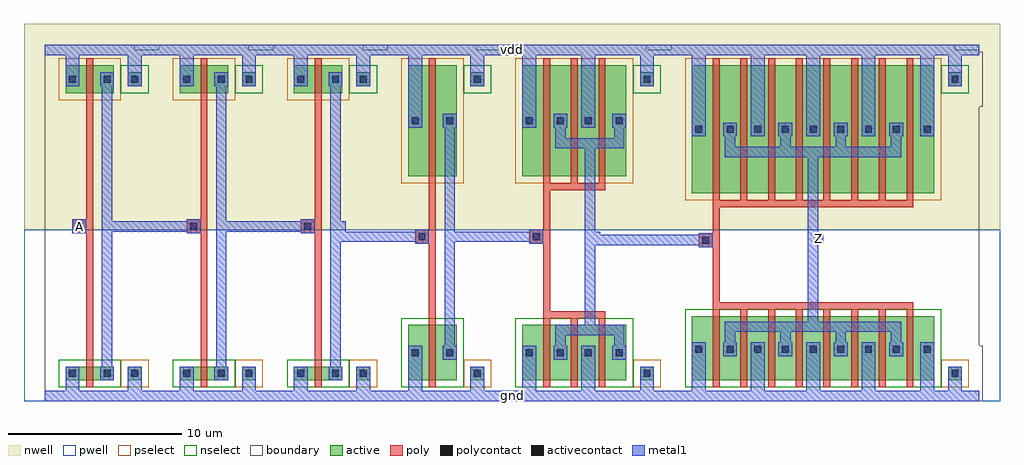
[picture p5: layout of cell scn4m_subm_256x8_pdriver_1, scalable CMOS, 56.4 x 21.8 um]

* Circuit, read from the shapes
.subckt scn4m_subm_256x8_pdriver_1 A Z gnd vdd
M1 scn4m_subm_256x8_pinv_1_1/A A gnd gnd nfet w=0.8u l=0.4u
M2 scn4m_subm_256x8_pinv_1_2/A scn4m_subm_256x8_pinv_1_1/A gnd gnd nfet w=0.8u l=0.4u
M3 scn4m_subm_256x8_pinv_8_3/A scn4m_subm_256x8_pinv_1_2/A gnd gnd nfet w=0.8u l=0.4u
M4 scn4m_subm_256x8_pinv_5_4/A scn4m_subm_256x8_pinv_8_3/A gnd gnd nfet w=3.2u l=0.4u
M5 scn4m_subm_256x8_pinv_9_5/A scn4m_subm_256x8_pinv_5_4/A gnd gnd nfet w=3.2u l=0.4u m=3
M6 Z scn4m_subm_256x8_pinv_9_5/A gnd gnd nfet w=3.7u l=0.4u m=8
M7 scn4m_subm_256x8_pinv_1_1/A A vdd vdd pfet w=1.6u l=0.4u
M8 scn4m_subm_256x8_pinv_1_2/A scn4m_subm_256x8_pinv_1_1/A vdd vdd pfet w=1.6u l=0.4u
M9 scn4m_subm_256x8_pinv_8_3/A scn4m_subm_256x8_pinv_1_2/A vdd vdd pfet w=1.6u l=0.4u
M10 scn4m_subm_256x8_pinv_5_4/A scn4m_subm_256x8_pinv_8_3/A vdd vdd pfet w=6.4u l=0.4u
M11 scn4m_subm_256x8_pinv_9_5/A scn4m_subm_256x8_pinv_5_4/A vdd vdd pfet w=6.4u l=0.4u m=3
M12 Z scn4m_subm_256x8_pinv_9_5/A vdd vdd pfet w=7.4u l=0.4u m=8
.ends

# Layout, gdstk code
import gdstk
lib = gdstk.Library(unit=1e-6, precision=1e-09)
def R(c, l, rs):  # rectangles x0, y0, x1, y1
    for r in rs: c.add(gdstk.rectangle(r[:2], r[2:], *l))
def A(c, l, x, y, w, h, nx, ny, dx, dy):  # array of equal rectangles
    R(c, l, [(x+i*dx, y+j*dy, x+i*dx+w, y+j*dy+h) for i in range(nx) for j in range(ny)])
pwell = (41, 0)
nwell = (42, 0)
active = (43, 0)
pselect = (44, 0)
nselect = (45, 0)
poly = (46, 0)
polycontact = (47, 0)
activecontact = (48, 0)
metal1 = (49, 0)
boundary = (63, 0)

scn4m_subm_256x8_contact = lib.new_cell('scn4m_subm_256x8_contact_12')
R(scn4m_subm_256x8_contact, nwell, [(-1.2,-1.2,2,2)])
R(scn4m_subm_256x8_contact, active, [(0,0,0.8,0.8)])
R(scn4m_subm_256x8_contact, pselect, [(-0.4,-0.4,1.2,1.2)])
R(scn4m_subm_256x8_contact, activecontact, [(0.2,0.2,0.6,0.6)])
R(scn4m_subm_256x8_contact, metal1, [(0,0,0.8,0.8)])
R(scn4m_subm_256x8_contact, boundary, [(-1.2,-1.2,2,2)])

scn4m_subm_256x8_pmos_m1 = lib.new_cell('scn4m_subm_256x8_pmos_m1_w1_600_sm1_dm1_da_p')
R(scn4m_subm_256x8_pmos_m1, nwell, [(-1.2,-1.2,4,2.8)])
R(scn4m_subm_256x8_pmos_m1, active, [(0,0,2.8,1.6)])
R(scn4m_subm_256x8_pmos_m1, pselect, [(-0.4,-0.4,3.2,2)])
R(scn4m_subm_256x8_pmos_m1, poly, [(1.2,-0.4,1.6,2), (1.2,-0.4,1.6,2)])
R(scn4m_subm_256x8_pmos_m1, metal1, [(0,0.4,0.8,1.2), (2,0.4,2.8,1.2)])
R(scn4m_subm_256x8_pmos_m1, boundary, [(-1.2,-1.2,4,2.8)])
scn4m_subm_256x8_pmos_m1.add(gdstk.Reference(scn4m_subm_256x8_contact, (0,0.4)))
scn4m_subm_256x8_pmos_m1.add(gdstk.Reference(scn4m_subm_256x8_contact, (2,0.4)))
scn4m_subm_256x8_pmos_m1.add(gdstk.Label('G', (1.4,0.8), layer=46, texttype=0))
scn4m_subm_256x8_pmos_m1.add(gdstk.Label('S', (0.4,0.8), layer=49, texttype=0))
scn4m_subm_256x8_pmos_m1.add(gdstk.Label('D', (2.4,0.8), layer=49, texttype=0))

c_scn4m_subm_256x8_contact = lib.new_cell('scn4m_subm_256x8_contact_11')
R(c_scn4m_subm_256x8_contact, pwell, [(-1.2,-1.2,2,2)])
R(c_scn4m_subm_256x8_contact, active, [(0,0,0.8,0.8)])
R(c_scn4m_subm_256x8_contact, nselect, [(-0.4,-0.4,1.2,1.2)])
R(c_scn4m_subm_256x8_contact, activecontact, [(0.2,0.2,0.6,0.6)])
R(c_scn4m_subm_256x8_contact, metal1, [(0,0,0.8,0.8)])
R(c_scn4m_subm_256x8_contact, boundary, [(-1.2,-1.2,2,2)])

scn4m_subm_256x8_nmos_m1 = lib.new_cell('scn4m_subm_256x8_nmos_m1_w0_800_sm1_dm1_da_p')
R(scn4m_subm_256x8_nmos_m1, pwell, [(-1.2,-1.2,4,2)])
R(scn4m_subm_256x8_nmos_m1, active, [(0,0,2.8,0.8)])
R(scn4m_subm_256x8_nmos_m1, nselect, [(-0.4,-0.4,3.2,1.2)])
R(scn4m_subm_256x8_nmos_m1, poly, [(1.2,-0.4,1.6,1.2), (1.2,-0.4,1.6,1.2)])
R(scn4m_subm_256x8_nmos_m1, metal1, [(0,0,0.8,0.8), (2,0,2.8,0.8)])
R(scn4m_subm_256x8_nmos_m1, boundary, [(-1.2,-1.2,4,2)])
scn4m_subm_256x8_nmos_m1.add(gdstk.Reference(c_scn4m_subm_256x8_contact, (0,0)))
scn4m_subm_256x8_nmos_m1.add(gdstk.Reference(c_scn4m_subm_256x8_contact, (2,0)))
scn4m_subm_256x8_nmos_m1.add(gdstk.Label('G', (1.4,0.4), layer=46, texttype=0))
scn4m_subm_256x8_nmos_m1.add(gdstk.Label('S', (0.4,0.4), layer=49, texttype=0))
scn4m_subm_256x8_nmos_m1.add(gdstk.Label('D', (2.4,0.4), layer=49, texttype=0))

c_scn4m_subm_256x8_contact_ = lib.new_cell('scn4m_subm_256x8_contact_13')
R(c_scn4m_subm_256x8_contact_, nwell, [(-1.2,-1.2,2,2)])
R(c_scn4m_subm_256x8_contact_, active, [(0,0,0.8,0.8)])
R(c_scn4m_subm_256x8_contact_, nselect, [(-0.4,-0.4,1.2,1.2)])
R(c_scn4m_subm_256x8_contact_, activecontact, [(0.2,0.2,0.6,0.6)])
R(c_scn4m_subm_256x8_contact_, metal1, [(0,0,0.8,0.8)])
R(c_scn4m_subm_256x8_contact_, boundary, [(-1.2,-1.2,2,2)])

c_scn4m_subm_256x8_contact__ = lib.new_cell('scn4m_subm_256x8_contact_14')
R(c_scn4m_subm_256x8_contact__, pwell, [(-1.2,-1.2,2,2)])
R(c_scn4m_subm_256x8_contact__, active, [(0,0,0.8,0.8)])
R(c_scn4m_subm_256x8_contact__, pselect, [(-0.4,-0.4,1.2,1.2)])
R(c_scn4m_subm_256x8_contact__, activecontact, [(0.2,0.2,0.6,0.6)])
R(c_scn4m_subm_256x8_contact__, metal1, [(0,0,0.8,0.8)])
R(c_scn4m_subm_256x8_contact__, boundary, [(-1.2,-1.2,2,2)])

c_scn4m_subm_256x8_contact___ = lib.new_cell('scn4m_subm_256x8_contact_15')
R(c_scn4m_subm_256x8_contact___, poly, [(0,0,0.8,0.8)])
R(c_scn4m_subm_256x8_contact___, polycontact, [(0.2,0.2,0.6,0.6)])
R(c_scn4m_subm_256x8_contact___, metal1, [(0,0,0.8,0.8)])
R(c_scn4m_subm_256x8_contact___, boundary, [(0,0,0.8,0.8)])

scn4m_subm_256x8_pinv_1 = lib.new_cell('scn4m_subm_256x8_pinv_1')
R(scn4m_subm_256x8_pinv_1, pwell, [(-1.2,-0.3,7.8,9.6)])
R(scn4m_subm_256x8_pinv_1, nwell, [(-1.2,9.6,7.8,21.5)])
R(scn4m_subm_256x8_pinv_1, poly, [(2.4,2.1,2.8,17.1), (2,9.4,2.4,10.2)])
R(scn4m_subm_256x8_pinv_1, metal1, [(0,-0.3,6.6,0.3), (1.2,-0.3,2,0.9), (4.8,0,5.6,1.3), (3.3,0.9,3.9,18.7), (1.6,9.4,2.4,10.2), (3.6,9.5,4.2,10.1), (1.2,17.9,2,20.3), (4.8,18.3,5.6,20), (0,19.7,6.6,20.3)])
R(scn4m_subm_256x8_pinv_1, boundary, [(0,0,6.6,20), (0,0,6.6,20)])
scn4m_subm_256x8_pinv_1.add(gdstk.Reference(scn4m_subm_256x8_pmos_m1, (1.2,17.5)))
scn4m_subm_256x8_pinv_1.add(gdstk.Reference(scn4m_subm_256x8_nmos_m1, (1.2,0.9)))
scn4m_subm_256x8_pinv_1.add(gdstk.Reference(c_scn4m_subm_256x8_contact_, (4.8,17.9)))
scn4m_subm_256x8_pinv_1.add(gdstk.Reference(c_scn4m_subm_256x8_contact__, (4.8,0.9)))
scn4m_subm_256x8_pinv_1.add(gdstk.Reference(c_scn4m_subm_256x8_contact___, (1.6,9.4)))
scn4m_subm_256x8_pinv_1.add(gdstk.Label('A', (2,9.8), layer=49, texttype=0))
scn4m_subm_256x8_pinv_1.add(gdstk.Label('Z', (3.9,9.8), layer=49, texttype=0))
scn4m_subm_256x8_pinv_1.add(gdstk.Label('gnd', (3.3,0), layer=49, texttype=0))
scn4m_subm_256x8_pinv_1.add(gdstk.Label('vdd', (3.3,20), layer=49, texttype=0))

c_scn4m_subm_256x8_pmos_m1 = lib.new_cell('scn4m_subm_256x8_pmos_m1_w6_400_sm1_dm1_da_p')
R(c_scn4m_subm_256x8_pmos_m1, nwell, [(-1.2,-1.2,4,7.6)])
R(c_scn4m_subm_256x8_pmos_m1, active, [(0,0,2.8,6.4)])
R(c_scn4m_subm_256x8_pmos_m1, pselect, [(-0.4,-0.4,3.2,6.8)])
R(c_scn4m_subm_256x8_pmos_m1, poly, [(1.2,-0.4,1.6,6.8), (1.2,-0.4,1.6,6.8)])
R(c_scn4m_subm_256x8_pmos_m1, metal1, [(0,2.8,0.8,3.6), (2,2.8,2.8,3.6)])
R(c_scn4m_subm_256x8_pmos_m1, boundary, [(-1.2,-1.2,4,7.6)])
c_scn4m_subm_256x8_pmos_m1.add(gdstk.Reference(scn4m_subm_256x8_contact, (0,2.8)))
c_scn4m_subm_256x8_pmos_m1.add(gdstk.Reference(scn4m_subm_256x8_contact, (2,2.8)))
c_scn4m_subm_256x8_pmos_m1.add(gdstk.Label('G', (1.4,3.2), layer=46, texttype=0))
c_scn4m_subm_256x8_pmos_m1.add(gdstk.Label('S', (0.4,3.2), layer=49, texttype=0))
c_scn4m_subm_256x8_pmos_m1.add(gdstk.Label('D', (2.4,3.2), layer=49, texttype=0))

c_scn4m_subm_256x8_nmos_m1 = lib.new_cell('scn4m_subm_256x8_nmos_m1_w3_200_sm1_dm1_da_p')
R(c_scn4m_subm_256x8_nmos_m1, pwell, [(-1.2,-1.2,4,4.4)])
R(c_scn4m_subm_256x8_nmos_m1, active, [(0,0,2.8,3.2)])
R(c_scn4m_subm_256x8_nmos_m1, nselect, [(-0.4,-0.4,3.2,3.6)])
R(c_scn4m_subm_256x8_nmos_m1, poly, [(1.2,-0.4,1.6,3.6), (1.2,-0.4,1.6,3.6)])
R(c_scn4m_subm_256x8_nmos_m1, metal1, [(0,1.2,0.8,2), (2,1.2,2.8,2)])
R(c_scn4m_subm_256x8_nmos_m1, boundary, [(-1.2,-1.2,4,4.4)])
c_scn4m_subm_256x8_nmos_m1.add(gdstk.Reference(c_scn4m_subm_256x8_contact, (0,1.2)))
c_scn4m_subm_256x8_nmos_m1.add(gdstk.Reference(c_scn4m_subm_256x8_contact, (2,1.2)))
c_scn4m_subm_256x8_nmos_m1.add(gdstk.Label('G', (1.4,1.6), layer=46, texttype=0))
c_scn4m_subm_256x8_nmos_m1.add(gdstk.Label('S', (0.4,1.6), layer=49, texttype=0))
c_scn4m_subm_256x8_nmos_m1.add(gdstk.Label('D', (2.4,1.6), layer=49, texttype=0))

scn4m_subm_256x8_pinv_8 = lib.new_cell('scn4m_subm_256x8_pinv_8')
R(scn4m_subm_256x8_pinv_8, pwell, [(-1.2,-0.3,7.8,9.6)])
R(scn4m_subm_256x8_pinv_8, nwell, [(-1.2,9.6,7.8,21.5)])
R(scn4m_subm_256x8_pinv_8, poly, [(2.4,4.5,2.8,12.3), (2,8.8,2.4,9.6)])
R(scn4m_subm_256x8_pinv_8, metal1, [(0,-0.3,6.6,0.3), (1.2,-0.3,2,2.1), (4.8,0,5.6,1.3), (3.3,2.1,3.9,16.3), (1.6,8.8,2.4,9.6), (3.6,8.9,4.2,9.5), (1.2,15.5,2,20.3), (4.8,18.3,5.6,20), (0,19.7,6.6,20.3)])
R(scn4m_subm_256x8_pinv_8, boundary, [(0,0,6.6,20), (0,0,6.6,20)])
scn4m_subm_256x8_pinv_8.add(gdstk.Reference(c_scn4m_subm_256x8_pmos_m1, (1.2,12.7)))
scn4m_subm_256x8_pinv_8.add(gdstk.Reference(c_scn4m_subm_256x8_nmos_m1, (1.2,0.9)))
scn4m_subm_256x8_pinv_8.add(gdstk.Reference(c_scn4m_subm_256x8_contact_, (4.8,17.9)))
scn4m_subm_256x8_pinv_8.add(gdstk.Reference(c_scn4m_subm_256x8_contact__, (4.8,0.9)))
scn4m_subm_256x8_pinv_8.add(gdstk.Reference(c_scn4m_subm_256x8_contact___, (1.6,8.8)))
scn4m_subm_256x8_pinv_8.add(gdstk.Label('A', (2,9.2), layer=49, texttype=0))
scn4m_subm_256x8_pinv_8.add(gdstk.Label('Z', (3.9,9.2), layer=49, texttype=0))
scn4m_subm_256x8_pinv_8.add(gdstk.Label('gnd', (3.3,0), layer=49, texttype=0))
scn4m_subm_256x8_pinv_8.add(gdstk.Label('vdd', (3.3,20), layer=49, texttype=0))

scn4m_subm_256x8_pmos_m3 = lib.new_cell('scn4m_subm_256x8_pmos_m3_w6_400_sm1_dm1_da_p')
R(scn4m_subm_256x8_pmos_m3, nwell, [(-1.2,-1.2,7.2,7.6)])
R(scn4m_subm_256x8_pmos_m3, active, [(0,0,6,6.4)])
R(scn4m_subm_256x8_pmos_m3, pselect, [(-0.4,-0.4,6.4,6.8)])
A(scn4m_subm_256x8_pmos_m3, poly, 1.2, -0.4, 0.4, 7.2, 3, 1, 1.6, 0)
R(scn4m_subm_256x8_pmos_m3, poly, [(1.2,-0.8,4.8,-0.4)])
R(scn4m_subm_256x8_pmos_m3, metal1, [(1.9,1.6,5.9,2.2), (1.9,1.9,2.5,3.2), (5.3,1.9,5.9,3.2), (0,2.8,0.8,3.6), (3.4,2.8,4.2,3.6)])
R(scn4m_subm_256x8_pmos_m3, boundary, [(-1.2,-1.2,7.2,7.6)])
scn4m_subm_256x8_pmos_m3.add(gdstk.Reference(scn4m_subm_256x8_contact, (0,2.8)))
scn4m_subm_256x8_pmos_m3.add(gdstk.Reference(scn4m_subm_256x8_contact, (1.8,2.8)))
scn4m_subm_256x8_pmos_m3.add(gdstk.Reference(scn4m_subm_256x8_contact, (3.4,2.8)))
scn4m_subm_256x8_pmos_m3.add(gdstk.Reference(scn4m_subm_256x8_contact, (5.2,2.8)))
scn4m_subm_256x8_pmos_m3.add(gdstk.Label('G', (3,-0.6), layer=46, texttype=0))
scn4m_subm_256x8_pmos_m3.add(gdstk.Label('S', (3.8,3.2), layer=49, texttype=0))
scn4m_subm_256x8_pmos_m3.add(gdstk.Label('S', (0.4,3.2), layer=49, texttype=0))
scn4m_subm_256x8_pmos_m3.add(gdstk.Label('D', (3.9,1.9), layer=49, texttype=0))

scn4m_subm_256x8_nmos_m3 = lib.new_cell('scn4m_subm_256x8_nmos_m3_w3_200_sm1_dm1_da_p')
R(scn4m_subm_256x8_nmos_m3, pwell, [(-1.2,-1.2,7.2,4.4)])
R(scn4m_subm_256x8_nmos_m3, active, [(0,0,6,3.2)])
R(scn4m_subm_256x8_nmos_m3, nselect, [(-0.4,-0.4,6.4,3.6)])
A(scn4m_subm_256x8_nmos_m3, poly, 1.2, -0.4, 0.4, 4, 3, 1, 1.6, 0)
R(scn4m_subm_256x8_nmos_m3, poly, [(1.2,3.6,4.8,4)])
R(scn4m_subm_256x8_nmos_m3, metal1, [(0,1.2,0.8,2), (3.4,1.2,4.2,2), (1.9,1.6,2.5,2.9), (5.3,1.6,5.9,2.9), (1.9,2.6,5.9,3.2)])
R(scn4m_subm_256x8_nmos_m3, boundary, [(-1.2,-1.2,7.2,4.4)])
scn4m_subm_256x8_nmos_m3.add(gdstk.Reference(c_scn4m_subm_256x8_contact, (0,1.2)))
scn4m_subm_256x8_nmos_m3.add(gdstk.Reference(c_scn4m_subm_256x8_contact, (1.8,1.2)))
scn4m_subm_256x8_nmos_m3.add(gdstk.Reference(c_scn4m_subm_256x8_contact, (3.4,1.2)))
scn4m_subm_256x8_nmos_m3.add(gdstk.Reference(c_scn4m_subm_256x8_contact, (5.2,1.2)))
scn4m_subm_256x8_nmos_m3.add(gdstk.Label('G', (3,3.8), layer=46, texttype=0))
scn4m_subm_256x8_nmos_m3.add(gdstk.Label('S', (3.8,1.6), layer=49, texttype=0))
scn4m_subm_256x8_nmos_m3.add(gdstk.Label('S', (0.4,1.6), layer=49, texttype=0))
scn4m_subm_256x8_nmos_m3.add(gdstk.Label('D', (3.9,2.9), layer=49, texttype=0))

scn4m_subm_256x8_pinv_5 = lib.new_cell('scn4m_subm_256x8_pinv_5')
R(scn4m_subm_256x8_pinv_5, pwell, [(-1.2,-0.3,11,9.6)])
R(scn4m_subm_256x8_pinv_5, nwell, [(-1.2,9.6,11,21.5)])
R(scn4m_subm_256x8_pinv_5, poly, [(2.4,4.9,2.8,11.9), (2,8.8,2.4,9.6)])
R(scn4m_subm_256x8_pinv_5, metal1, [(0,-0.3,9.8,0.3), (1.2,-0.3,2,2.1), (4.6,-0.3,5.4,2.1), (8,0,8.8,1.3), (4.8,3.5,5.4,14.9), (1.6,8.8,2.4,9.6), (5.1,8.9,5.7,9.5), (1.2,15.5,2,20.3), (4.6,15.5,5.4,20.3), (8,18.3,8.8,20), (0,19.7,9.8,20.3)])
R(scn4m_subm_256x8_pinv_5, boundary, [(0,0,9.8,20), (0,0,9.8,20)])
scn4m_subm_256x8_pinv_5.add(gdstk.Reference(scn4m_subm_256x8_pmos_m3, (1.2,12.7)))
scn4m_subm_256x8_pinv_5.add(gdstk.Reference(scn4m_subm_256x8_nmos_m3, (1.2,0.9)))
scn4m_subm_256x8_pinv_5.add(gdstk.Reference(c_scn4m_subm_256x8_contact_, (8,17.9)))
scn4m_subm_256x8_pinv_5.add(gdstk.Reference(c_scn4m_subm_256x8_contact__, (8,0.9)))
scn4m_subm_256x8_pinv_5.add(gdstk.Reference(c_scn4m_subm_256x8_contact___, (1.6,8.8)))
scn4m_subm_256x8_pinv_5.add(gdstk.Label('A', (2,9.2), layer=49, texttype=0))
scn4m_subm_256x8_pinv_5.add(gdstk.Label('Z', (5.4,9.2), layer=49, texttype=0))
scn4m_subm_256x8_pinv_5.add(gdstk.Label('gnd', (4.9,0), layer=49, texttype=0))
scn4m_subm_256x8_pinv_5.add(gdstk.Label('vdd', (4.9,20), layer=49, texttype=0))

scn4m_subm_256x8_pmos_m8 = lib.new_cell('scn4m_subm_256x8_pmos_m8_w7_400_sm1_dm1_da_p')
R(scn4m_subm_256x8_pmos_m8, nwell, [(-1.2,-1.2,15.2,8.6)])
R(scn4m_subm_256x8_pmos_m8, active, [(0,0,14,7.4)])
R(scn4m_subm_256x8_pmos_m8, pselect, [(-0.4,-0.4,14.4,7.8)])
A(scn4m_subm_256x8_pmos_m8, poly, 1.2, -0.4, 0.4, 8.2, 8, 1, 1.6, 0)
R(scn4m_subm_256x8_pmos_m8, poly, [(1.2,-0.8,12.8,-0.4)])
A(scn4m_subm_256x8_pmos_m8, metal1, 1.9, 2.4, 0.6, 1.3, 4, 1, 3.2, 0)
A(scn4m_subm_256x8_pmos_m8, metal1, 3.4, 3.3, 0.8, 0.8, 3, 1, 3.2, 0)
R(scn4m_subm_256x8_pmos_m8, metal1, [(1.9,2.1,12.1,2.7), (0,3.3,0.8,4.1), (13.2,3.3,14,4.1)])
R(scn4m_subm_256x8_pmos_m8, boundary, [(-1.2,-1.2,15.2,8.6)])
scn4m_subm_256x8_pmos_m8.add(gdstk.Reference(scn4m_subm_256x8_contact, (0,3.3)))
scn4m_subm_256x8_pmos_m8.add(gdstk.Reference(scn4m_subm_256x8_contact, (1.8,3.3)))
scn4m_subm_256x8_pmos_m8.add(gdstk.Reference(scn4m_subm_256x8_contact, (3.4,3.3)))
scn4m_subm_256x8_pmos_m8.add(gdstk.Reference(scn4m_subm_256x8_contact, (5,3.3)))
scn4m_subm_256x8_pmos_m8.add(gdstk.Reference(scn4m_subm_256x8_contact, (6.6,3.3)))
scn4m_subm_256x8_pmos_m8.add(gdstk.Reference(scn4m_subm_256x8_contact, (8.2,3.3)))
scn4m_subm_256x8_pmos_m8.add(gdstk.Reference(scn4m_subm_256x8_contact, (9.8,3.3)))
scn4m_subm_256x8_pmos_m8.add(gdstk.Reference(scn4m_subm_256x8_contact, (11.4,3.3)))
scn4m_subm_256x8_pmos_m8.add(gdstk.Reference(scn4m_subm_256x8_contact, (13.2,3.3)))
scn4m_subm_256x8_pmos_m8.add(gdstk.Label('G', (7,-0.6), layer=46, texttype=0))
scn4m_subm_256x8_pmos_m8.add(gdstk.Label('S', (3.8,3.7), layer=49, texttype=0))
scn4m_subm_256x8_pmos_m8.add(gdstk.Label('S', (0.4,3.7), layer=49, texttype=0))
scn4m_subm_256x8_pmos_m8.add(gdstk.Label('S', (13.6,3.7), layer=49, texttype=0))
scn4m_subm_256x8_pmos_m8.add(gdstk.Label('S', (10.2,3.7), layer=49, texttype=0))
scn4m_subm_256x8_pmos_m8.add(gdstk.Label('S', (7,3.7), layer=49, texttype=0))
scn4m_subm_256x8_pmos_m8.add(gdstk.Label('D', (7,2.4), layer=49, texttype=0))

scn4m_subm_256x8_nmos_m8 = lib.new_cell('scn4m_subm_256x8_nmos_m8_w3_700_sm1_dm1_da_p')
R(scn4m_subm_256x8_nmos_m8, pwell, [(-1.2,-1.2,15.2,4.9)])
R(scn4m_subm_256x8_nmos_m8, active, [(0,0,14,3.7)])
R(scn4m_subm_256x8_nmos_m8, nselect, [(-0.4,-0.4,14.4,4.1)])
A(scn4m_subm_256x8_nmos_m8, poly, 1.2, -0.4, 0.4, 4.5, 8, 1, 1.6, 0)
R(scn4m_subm_256x8_nmos_m8, poly, [(1.2,4.1,12.8,4.5)])
A(scn4m_subm_256x8_nmos_m8, metal1, 3.4, 1.4, 0.8, 0.8, 3, 1, 3.2, 0)
A(scn4m_subm_256x8_nmos_m8, metal1, 1.9, 1.8, 0.6, 1.4, 4, 1, 3.2, 0)
R(scn4m_subm_256x8_nmos_m8, metal1, [(0,1.4,0.8,2.2), (13.2,1.4,14,2.2), (1.9,2.8,12.1,3.4)])
R(scn4m_subm_256x8_nmos_m8, boundary, [(-1.2,-1.2,15.2,4.9)])
scn4m_subm_256x8_nmos_m8.add(gdstk.Reference(c_scn4m_subm_256x8_contact, (0,1.4)))
scn4m_subm_256x8_nmos_m8.add(gdstk.Reference(c_scn4m_subm_256x8_contact, (1.8,1.4)))
scn4m_subm_256x8_nmos_m8.add(gdstk.Reference(c_scn4m_subm_256x8_contact, (3.4,1.4)))
scn4m_subm_256x8_nmos_m8.add(gdstk.Reference(c_scn4m_subm_256x8_contact, (5,1.4)))
scn4m_subm_256x8_nmos_m8.add(gdstk.Reference(c_scn4m_subm_256x8_contact, (6.6,1.4)))
scn4m_subm_256x8_nmos_m8.add(gdstk.Reference(c_scn4m_subm_256x8_contact, (8.2,1.4)))
scn4m_subm_256x8_nmos_m8.add(gdstk.Reference(c_scn4m_subm_256x8_contact, (9.8,1.4)))
scn4m_subm_256x8_nmos_m8.add(gdstk.Reference(c_scn4m_subm_256x8_contact, (11.4,1.4)))
scn4m_subm_256x8_nmos_m8.add(gdstk.Reference(c_scn4m_subm_256x8_contact, (13.2,1.4)))
scn4m_subm_256x8_nmos_m8.add(gdstk.Label('G', (7,4.3), layer=46, texttype=0))
scn4m_subm_256x8_nmos_m8.add(gdstk.Label('S', (7,1.8), layer=49, texttype=0))
scn4m_subm_256x8_nmos_m8.add(gdstk.Label('S', (3.8,1.8), layer=49, texttype=0))
scn4m_subm_256x8_nmos_m8.add(gdstk.Label('S', (10.2,1.8), layer=49, texttype=0))
scn4m_subm_256x8_nmos_m8.add(gdstk.Label('S', (13.6,1.8), layer=49, texttype=0))
scn4m_subm_256x8_nmos_m8.add(gdstk.Label('S', (0.4,1.8), layer=49, texttype=0))
scn4m_subm_256x8_nmos_m8.add(gdstk.Label('D', (7,3.1), layer=49, texttype=0))

scn4m_subm_256x8_pinv_9 = lib.new_cell('scn4m_subm_256x8_pinv_9')
R(scn4m_subm_256x8_pinv_9, pwell, [(-1.2,-0.3,19,9.6)])
R(scn4m_subm_256x8_pinv_9, nwell, [(-1.2,9.6,19,21.5)])
R(scn4m_subm_256x8_pinv_9, poly, [(2.4,5.4,2.8,10.9), (2,8.6,2.4,9.4)])
A(scn4m_subm_256x8_pinv_9, metal1, 4.6, -0.3, 0.8, 2.6, 3, 1, 3.2, 0)
A(scn4m_subm_256x8_pinv_9, metal1, 4.6, 15, 0.8, 5.3, 3, 1, 3.2, 0)
R(scn4m_subm_256x8_pinv_9, metal1, [(0,-0.3,17.8,0.3), (1.2,-0.3,2,2.3), (14.4,-0.3,15.2,2.3), (16,0,16.8,1.3), (7.9,3.7,8.5,14.4), (1.6,8.6,2.4,9.4), (8.2,8.8,8.8,9.4), (1.2,15,2,20.3), (14.4,15,15.2,20.3), (16,18.3,16.8,20), (0,19.7,17.8,20.3)])
R(scn4m_subm_256x8_pinv_9, boundary, [(0,0,17.8,20), (0,0,17.8,20)])
scn4m_subm_256x8_pinv_9.add(gdstk.Reference(scn4m_subm_256x8_pmos_m8, (1.2,11.7)))
scn4m_subm_256x8_pinv_9.add(gdstk.Reference(scn4m_subm_256x8_nmos_m8, (1.2,0.9)))
scn4m_subm_256x8_pinv_9.add(gdstk.Reference(c_scn4m_subm_256x8_contact_, (16,17.9)))
scn4m_subm_256x8_pinv_9.add(gdstk.Reference(c_scn4m_subm_256x8_contact__, (16,0.9)))
scn4m_subm_256x8_pinv_9.add(gdstk.Reference(c_scn4m_subm_256x8_contact___, (1.6,8.6)))
scn4m_subm_256x8_pinv_9.add(gdstk.Label('A', (2,9), layer=49, texttype=0))
scn4m_subm_256x8_pinv_9.add(gdstk.Label('Z', (8.5,9.1), layer=49, texttype=0))
scn4m_subm_256x8_pinv_9.add(gdstk.Label('gnd', (8.9,0), layer=49, texttype=0))
scn4m_subm_256x8_pinv_9.add(gdstk.Label('vdd', (8.9,20), layer=49, texttype=0))

scn4m_subm_256x8_pdriver = lib.new_cell('scn4m_subm_256x8_pdriver_1')
R(scn4m_subm_256x8_pdriver, pwell, [(-1.2,-0.3,55.2,9.6)])
R(scn4m_subm_256x8_pdriver, nwell, [(-1.2,9.6,55.2,21.5)])
R(scn4m_subm_256x8_pdriver, metal1, [(0,-0.3,54,0.3), (31.5,8.7,32.1,9.3), (31.8,8.7,38.2,9.3), (44.4,8.8,45,9.4), (16.8,8.9,17.4,9.5), (17.1,8.9,21.8,9.5), (23.7,8.9,28.4,9.5), (31.5,9,32.1,9.2), (16.8,9.2,17.4,9.8), (1.6,9.4,2.4,10.2), (3.9,9.5,8.6,10.1), (10.5,9.5,15.2,10.1), (0,19.7,54,20.3)])
R(scn4m_subm_256x8_pdriver, boundary, [(0,0,54,20), (0,0,54,20)])
scn4m_subm_256x8_pdriver.add(gdstk.Reference(scn4m_subm_256x8_pinv_1, (0,0)))
scn4m_subm_256x8_pdriver.add(gdstk.Reference(scn4m_subm_256x8_pinv_1, (6.6,0)))
scn4m_subm_256x8_pdriver.add(gdstk.Reference(scn4m_subm_256x8_pinv_1, (13.2,0)))
scn4m_subm_256x8_pdriver.add(gdstk.Reference(scn4m_subm_256x8_pinv_8, (19.8,0)))
scn4m_subm_256x8_pdriver.add(gdstk.Reference(scn4m_subm_256x8_pinv_5, (26.4,0)))
scn4m_subm_256x8_pdriver.add(gdstk.Reference(scn4m_subm_256x8_pinv_9, (36.2,0)))
scn4m_subm_256x8_pdriver.add(gdstk.Label('Z', (44.7,9.1), layer=49, texttype=0))
scn4m_subm_256x8_pdriver.add(gdstk.Label('A', (2,9.8), layer=49, texttype=0))
scn4m_subm_256x8_pdriver.add(gdstk.Label('gnd', (27,0), layer=49, texttype=0))
scn4m_subm_256x8_pdriver.add(gdstk.Label('vdd', (27,20), layer=49, texttype=0))

lib.write_gds('scn4m_subm_256x8_pdriver_1.gds')
